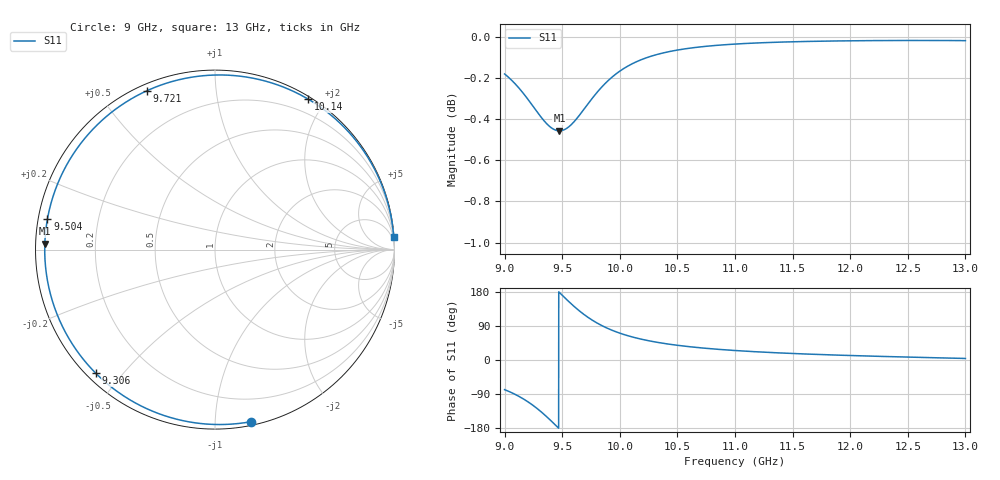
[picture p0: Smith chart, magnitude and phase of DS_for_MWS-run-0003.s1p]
! TOUCHSTONE file generated by CST DESIGN STUDIO
! Date and time: Tue Feb  4 13:52:39 2025
! Project name: C:\Work\MatlabApps\UnitCellOptimizationMatlab\CST\unitcell.cst
! Tree item: Tasks\Sweep1\SPara1\S-Parameters
! Header version: 2024
! Port assignment regex: !\s*Touchstone port\s*([0-9]+)\s*=\s*(CST MWS port|CST DES external port|CST DES block port)\s*(.+)\s* \(\"(.*)\"\)(\s*mode\s*([0-9]+))?.*
! Touchstone port assignment:
! Touchstone port 1 = CST DES external port 1 ("")
# GHz S MA R 50
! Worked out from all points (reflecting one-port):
!   4001 points, 9 GHz to 13 GHz, reference 50 ohm
!   lowest |S11| = -0.5 dB at 9.476 GHz (marker M1), VSWR 38.02, Z = 1.32 + j0.883 ohm
!   phase of S11 starts at -78 deg and turns -278 deg over the sweep
!   S11 on the Smith chart (normalised r, x): 9 GHz: 0.03, -1.23; 9.306 GHz: 0.03, -0.43; 9.504 GHz: 0.03, +0.09; 9.721 GHz: 0.03, +0.66; 10.14 GHz: 0.03, +1.80; 13 GHz: 1, +28
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9  0.9794 -78.2
9.076  0.975 -88.4
9.174  0.9679 -104.8
9.242  0.9623 -118.7
9.306  0.9569 -133.9
9.351  0.9535 -145.7
9.398  0.9507 -159.0
9.438  0.9492 -170.7
9.476  0.9487 178.0
9.5  0.9489 170.8
9.504  0.949 169.6
9.556  0.9508 154.5
9.616  0.9545 138.0
9.668  0.9585 125.0
9.721  0.9629 113.2
9.776  0.9674 102.3
9.838  0.9719 91.7
9.917  0.9768 80.5
10  0.981 70.8
10.142  0.9861 58.2
10.304  0.9898 47.8
10.5  0.9926 38.8
10.722  0.9945 31.5
11  0.9959 25.0
11.5  0.9972 17.2
12  0.9978 11.8
12.5  0.9979 7.7
13  0.9979 4.1
